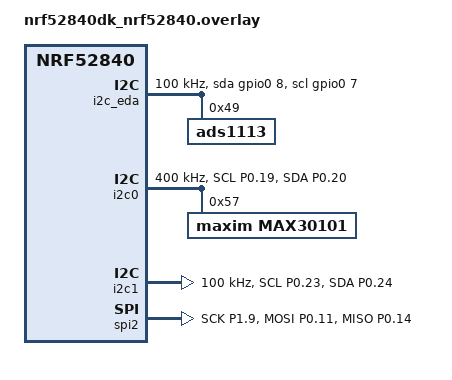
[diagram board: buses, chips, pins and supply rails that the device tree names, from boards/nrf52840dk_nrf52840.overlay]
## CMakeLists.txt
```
cmake_minimum_required(VERSION 3.20.0)

find_package(Zephyr REQUIRED HINTS $ENV{ZEPHYR_BASE})
project(smartwatch_all_sensors)

target_sources(app PRIVATE
  src/main.c
  src/as6221_task.c
  src/lsm6dso_task.c
  src/max30101_task.c
  src/ads1113_task.c
  src/w25n01_task.c
  src/ble_log_service.c
  src/log_backend_ble.c
)
```

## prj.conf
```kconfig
# Core
CONFIG_GPIO=y
CONFIG_I2C=y
CONFIG_I2C_GPIO=y
CONFIG_GPIO_NRFX=y
# Logging
CONFIG_LOG=y
CONFIG_LOG_DEFAULT_LEVEL=3
CONFIG_LOG_MODE_DEFERRED=y
CONFIG_LOG_PROCESS_THREAD=y
CONFIG_LOG_PROCESS_THREAD_STACK_SIZE=4096
CONFIG_LOG_BUFFER_SIZE=4096
CONFIG_LOG_OUTPUT=y

# No RTT / no UART console output
CONFIG_USE_SEGGER_RTT=n
CONFIG_LOG_BACKEND_RTT=n
CONFIG_RTT_CONSOLE=n
CONFIG_UART_CONSOLE=n
CONFIG_SERIAL=n
CONFIG_CONSOLE=n

# Float format for LOG_INF("%.2f")
CONFIG_CBPRINTF_COMPLETE=y
CONFIG_CBPRINTF_FP_SUPPORT=y

# BLE
CONFIG_BT=y
CONFIG_BT_PERIPHERAL=y
CONFIG_BT_DEVICE_NAME="SMARTWATCH"
CONFIG_BT_MAX_CONN=1
CONFIG_BT_SMP=n
CONFIG_BT_GATT_DYNAMIC_DB=y

# Reduce BT internal log spam
CONFIG_BT_LOG_LEVEL_ERR=y

# Buffers (safe values)
CONFIG_BT_L2CAP_TX_BUF_COUNT=10
CONFIG_BT_BUF_ACL_TX_COUNT=10
CONFIG_BT_BUF_ACL_RX_COUNT=10
CONFIG_BT_CONN_TX_MAX=10

# ---- ADD THESE (keep your existing as-is) ----
CONFIG_SPI=y
CONFIG_PRINTK=y
CONFIG_LOG_PRINTK=y
```

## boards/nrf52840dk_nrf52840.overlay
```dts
/ {
	/* ==========================================
	 * Software I2C (bitbang) for ADS1113
	 * Fixed wiring:
	 *   P0.07 = SCL
	 *   P0.08 = SDA
	 * ========================================== */
	i2c_eda: i2c_eda {
		compatible = "gpio-i2c";
		status = "okay";

		scl-gpios = <&gpio0 7 (GPIO_OPEN_DRAIN | GPIO_PULL_UP)>;
		sda-gpios = <&gpio0 8 (GPIO_OPEN_DRAIN | GPIO_PULL_UP)>;

		clock-frequency = <I2C_BITRATE_STANDARD>;
		#address-cells = <1>;
		#size-cells = <0>;

		ads1113: ads1113@49 {
			reg = <0x49>;
			status = "okay";
		};
	};
};

&uart0 {
	status = "disabled";
};

/* IMPORTANT: keep spi1 disabled because i2c1 uses HW instance 1 */
&spi1 {
	status = "disabled";
};

/* =======================
 * I2C0 (AS6221 + MAX30101)
 * P0.19=SCL, P0.20=SDA
 * ======================= */
&i2c0 {
	status = "okay";
	clock-frequency = <I2C_BITRATE_FAST>;
	pinctrl-0 = <&i2c0_default>;
	pinctrl-1 = <&i2c0_sleep>;
	pinctrl-names = "default", "sleep";

	max30101: max30101@57 {
		compatible = "maxim,max30101";
		reg = <0x57>;
		label = "MAX30101";
		status = "okay";
	};
};

/* =======================
 * I2C1 (LSM6DSO)
 * P0.23=SCL, P0.24=SDA
 * ======================= */
&i2c1 {
	status = "okay";
	clock-frequency = <I2C_BITRATE_STANDARD>;
	pinctrl-0 = <&i2c1_default>;
	pinctrl-1 = <&i2c1_sleep>;
	pinctrl-names = "default", "sleep";
};

/* ==========================================
 * SPI2 (W25N01GV NAND)
 * SAME wiring as your independent test:
 *   SCK  = P1.09
 *   MOSI = P0.11
 *   MISO = P0.14
 *
 * CS is manual on P0.17 (your code controls it),
 * so cs-gpios not required here.
 * ========================================== */
&spi2 {
	status = "okay";
	pinctrl-0 = <&spi2_default>;
	pinctrl-1 = <&spi2_sleep>;
	pinctrl-names = "default", "sleep";
};

&pinctrl {
	i2c0_default: i2c0_default {
		group1 {
			psels = <
				NRF_PSEL(TWIM_SCL, 0, 19)
				NRF_PSEL(TWIM_SDA, 0, 20)
			>;
		};
	};

	i2c0_sleep: i2c0_sleep {
		group1 {
			psels = <
				NRF_PSEL(TWIM_SCL, 0, 19)
				NRF_PSEL(TWIM_SDA, 0, 20)
			>;
			low-power-enable;
		};
	};

	i2c1_default: i2c1_default {
		group1 {
			psels = <
				NRF_PSEL(TWIM_SCL, 0, 23)
				NRF_PSEL(TWIM_SDA, 0, 24)
			>;
		};
	};

	i2c1_sleep: i2c1_sleep {
		group1 {
			psels = <
				NRF_PSEL(TWIM_SCL, 0, 23)
				NRF_PSEL(TWIM_SDA, 0, 24)
			>;
			low-power-enable;
		};
	};

	spi2_default: spi2_default {
		group1 {
			psels = <
				NRF_PSEL(SPIM_SCK,  1, 9)   /* P1.09 */
				NRF_PSEL(SPIM_MOSI, 0, 11)  /* P0.11 */
				NRF_PSEL(SPIM_MISO, 0, 14)  /* P0.14 */
			>;
		};
	};

	spi2_sleep: spi2_sleep {
		group1 {
			psels = <
				NRF_PSEL(SPIM_SCK,  1, 9)
				NRF_PSEL(SPIM_MOSI, 0, 11)
				NRF_PSEL(SPIM_MISO, 0, 14)
			>;
			low-power-enable;
		};
	};
};
```

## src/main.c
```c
#include <zephyr/kernel.h>
#include <zephyr/logging/log.h>

#include "ble_log_service.h"
#include "as6221_task.h"
#include "lsm6dso_task.h"
#include "max30101_task.h"
#include "ads1113_task.h"   /* <-- add this */
#include "w25n01_task.h"

LOG_MODULE_REGISTER(main_all, LOG_LEVEL_INF);

int main(void)
{
	int err = ble_log_service_init();
	if (err) {
		LOG_ERR("ble_log_service_init failed (%d)", err);
	}

	k_msleep(500);

	as6221_task_start();
	lsm6dso_task_start();
	max30101_task_start();
	ads1113_task_start();    /* <-- add this */
    w25n01_task_start();

	LOG_INF("All sensor tasks started.");

	while (1) {
		k_sleep(K_SECONDS(1));
	}
}
```

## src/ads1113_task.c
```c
#include <zephyr/kernel.h>
#include <zephyr/device.h>
#include <zephyr/drivers/i2c.h>
#include <zephyr/logging/log.h>
#include <stdint.h>

LOG_MODULE_REGISTER(eda_raw, LOG_LEVEL_INF);

/* Use software I2C bus on P0.07/P0.08 */
#define I2C_NODE        DT_NODELABEL(i2c_eda)
#define ADS1113_ADDR    0x49

#define REG_CONV        0x00
#define REG_CONFIG      0x01

#define FS_HZ           4
#define SAMPLE_MS       (1000 / FS_HZ)

#define FLAT_DELTA_RAW_TH   1
#define FLAT_TIME_SEC       5
#define FLAT_N_SAMPLES      (FS_HZ * FLAT_TIME_SEC)

static int ads_set_continuous(const struct device *i2c)
{
	uint8_t cfg[3] = { REG_CONFIG, 0xC2, 0x83 };
	return i2c_write(i2c, cfg, sizeof(cfg), ADS1113_ADDR);
}

static int ads_read_raw(const struct device *i2c, int16_t *raw)
{
	uint8_t reg = REG_CONV;
	uint8_t buf[2];

	int ret = i2c_write_read(i2c, ADS1113_ADDR, &reg, 1, buf, 2);
	if (ret) return ret;

	*raw = (int16_t)((buf[0] << 8) | buf[1]);
	return 0;
}

static int32_t raw_to_mV(int16_t raw)
{
	int32_t uv = (int32_t)raw * 125;
	return uv / 1000;
}

static void ads1113_thread(void *a, void *b, void *c)
{
	ARG_UNUSED(a); ARG_UNUSED(b); ARG_UNUSED(c);

	const struct device *i2c = DEVICE_DT_GET(I2C_NODE);
	if (!device_is_ready(i2c)) {
		LOG_ERR("I2C not ready");
		return;
	}

	LOG_INF("=== EDA RAW STREAM TEST (ADS1113, %d Hz) ===", FS_HZ);

	int ret = ads_set_continuous(i2c);
	if (ret) {
		LOG_ERR("ADS config write failed (%d)", ret);
		return;
	}
	LOG_INF("ADS set to continuous mode");

	int16_t prev_raw = 0;
	bool have_prev = false;
	int flat_cnt = 0;

	int64_t t0 = k_uptime_get();

	while (1) {
		int16_t raw = 0;
		ret = ads_read_raw(i2c, &raw);
		if (ret) {
			LOG_ERR("ADS read failed (%d)", ret);
			k_sleep(K_MSEC(SAMPLE_MS));
			continue;
		}

		int32_t mv = raw_to_mV(raw);

		int16_t d = 0;
		if (have_prev) {
			d = raw - prev_raw;
		} else {
			have_prev = true;
		}

		if (have_prev && (d <= FLAT_DELTA_RAW_TH && d >= -FLAT_DELTA_RAW_TH)) {
			flat_cnt++;
		} else {
			flat_cnt = 0;
		}

		int64_t t_ms = k_uptime_get() - t0;

		LOG_INF("t=%lldms raw=%d mv=%ld dRaw=%d flat_cnt=%d%s",
			t_ms, raw, (long)mv, d, flat_cnt,
			(flat_cnt >= FLAT_N_SAMPLES) ? " FLATLINE" : "");

		prev_raw = raw;
		k_sleep(K_MSEC(SAMPLE_MS));
	}
}

#define ADS1113_STACK_SIZE 2048
#define ADS1113_PRIORITY   5

K_THREAD_STACK_DEFINE(ads1113_stack, ADS1113_STACK_SIZE);
static struct k_thread ads1113_tcb;
static bool started;

void ads1113_task_start(void)
{
	if (started) return;
	started = true;

	k_thread_create(&ads1113_tcb, ads1113_stack, K_THREAD_STACK_SIZEOF(ads1113_stack),
			ads1113_thread, NULL, NULL, NULL,
			ADS1113_PRIORITY, 0, K_NO_WAIT);

	k_thread_name_set(&ads1113_tcb, "ads1113_task");
}
```

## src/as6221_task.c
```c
#include <zephyr/kernel.h>
#include <zephyr/device.h>
#include <zephyr/drivers/i2c.h>
#include <zephyr/logging/log.h>

LOG_MODULE_REGISTER(as6221_demo, LOG_LEVEL_INF);

#define AS6221_ADDR     0x48
#define REG_TEMP_MSB    0x00

static const struct device *i2c_dev;

/* ---------- your existing logic unchanged ---------- */
static float as6221_read_temp(void)
{
	uint8_t data[2];
	int ret = i2c_burst_read(i2c_dev, AS6221_ADDR, REG_TEMP_MSB, data, 2);

	if (ret < 0) {
		LOG_ERR("I2C read failed (%d)", ret);
		return -1000.0f;
	}

	uint16_t raw = (data[0] << 8) | data[1];
	float temperature = raw / 100.0f;

	LOG_INF("[AS6221] t=%.2f C | raw=%u | uptime=%lld ms",
		temperature, raw, k_uptime_get());

	return temperature;
}

/* ---------- thread wrapper ---------- */
static void as6221_thread(void *a, void *b, void *c)
{
	ARG_UNUSED(a);
	ARG_UNUSED(b);
	ARG_UNUSED(c);

	LOG_INF("=== AS6221 CUSTOM I2C DEMO START ===");

	i2c_dev = DEVICE_DT_GET(DT_NODELABEL(i2c0));
	if (!device_is_ready(i2c_dev)) {
		LOG_ERR("I2C0 not ready!");
		return;
	}

	LOG_INF("I2C0 ready, addr=0x48");

	while (1) {
		as6221_read_temp();
		k_msleep(1000);
	}
}

/* thread objects */
#define AS6221_STACK_SIZE 2048
#define AS6221_PRIORITY   5

K_THREAD_STACK_DEFINE(as6221_stack, AS6221_STACK_SIZE);
static struct k_thread as6221_tcb;
static bool started;

void as6221_task_start(void)
{
	if (started) {
		return;
	}
	started = true;

	k_thread_create(&as6221_tcb, as6221_stack, K_THREAD_STACK_SIZEOF(as6221_stack),
			as6221_thread, NULL, NULL, NULL,
			AS6221_PRIORITY, 0, K_NO_WAIT);

	k_thread_name_set(&as6221_tcb, "as6221_task");
}
```

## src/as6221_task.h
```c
#pragma once

void as6221_task_start(void);
```

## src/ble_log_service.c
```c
#include <zephyr/kernel.h>
#include <zephyr/sys/util.h>
#include <zephyr/bluetooth/bluetooth.h>
#include <zephyr/bluetooth/conn.h>
#include <zephyr/bluetooth/gatt.h>

#include "ble_log_service.h"

/* 128-bit UUIDs */
#define BT_UUID_LOG_SERVICE_VAL \
	BT_UUID_128_ENCODE(0x9f7b0000, 0x6c35, 0x4d2c, 0x9c85, 0x4a8c1a2b3c4d)

#define BT_UUID_LOG_STREAM_VAL \
	BT_UUID_128_ENCODE(0x9f7b0001, 0x6c35, 0x4d2c, 0x9c85, 0x4a8c1a2b3c4d)

static struct bt_uuid_128 log_svc_uuid = BT_UUID_INIT_128(BT_UUID_LOG_SERVICE_VAL);
static struct bt_uuid_128 log_chr_uuid = BT_UUID_INIT_128(BT_UUID_LOG_STREAM_VAL);

static struct bt_conn *g_conn;
static volatile bool g_notify_enabled;

static uint8_t g_last[200];
static size_t  g_last_len;

static ssize_t log_read(struct bt_conn *conn,
			const struct bt_gatt_attr *attr,
			void *buf, uint16_t len, uint16_t offset)
{
	(void)attr;
	return bt_gatt_attr_read(conn, attr, buf, len, offset, g_last, g_last_len);
}

static void ccc_cfg_changed(const struct bt_gatt_attr *attr, uint16_t value)
{
	ARG_UNUSED(attr);
	g_notify_enabled = (value == BT_GATT_CCC_NOTIFY);
}

/* attrs index:
 * 0 = primary service
 * 1 = chr declaration
 * 2 = chr value (notify this)
 * 3 = ccc
 */
BT_GATT_SERVICE_DEFINE(log_svc,
	BT_GATT_PRIMARY_SERVICE(&log_svc_uuid),
	BT_GATT_CHARACTERISTIC(&log_chr_uuid.uuid,
			       BT_GATT_CHRC_NOTIFY | BT_GATT_CHRC_READ,
			       BT_GATT_PERM_READ,
			       log_read, NULL, NULL),
	BT_GATT_CCC(ccc_cfg_changed, BT_GATT_PERM_READ | BT_GATT_PERM_WRITE)
);

static void connected(struct bt_conn *conn, uint8_t err)
{
	if (err) {
		return;
	}

	if (g_conn) {
		bt_conn_unref(g_conn);
		g_conn = NULL;
	}
	g_conn = bt_conn_ref(conn);
}

static void disconnected(struct bt_conn *conn, uint8_t reason)
{
	ARG_UNUSED(conn);
	ARG_UNUSED(reason);

	if (g_conn) {
		bt_conn_unref(g_conn);
		g_conn = NULL;
	}
	g_notify_enabled = false;
}

BT_CONN_CB_DEFINE(conn_cb) = {
	.connected = connected,
	.disconnected = disconnected,
};

int ble_log_service_init(void)
{
	int err = bt_enable(NULL);
	if (err) {
		return err;
	}

	/* connectable advertising with device name */
	return bt_le_adv_start(BT_LE_ADV_CONN_NAME, NULL, 0, NULL, 0);
}

int ble_log_send_as(const uint8_t *data, size_t len)
{
	if (!data || len == 0) {
		return 0;
	}

	struct bt_conn *conn = g_conn;
	if (!conn || !g_notify_enabled) {
		/* not connected or notify not enabled yet */
		return 0;
	}

	uint16_t mtu = bt_gatt_get_mtu(conn);
	uint16_t max_payload = (mtu > 3) ? (mtu - 3) : 20;

	g_last_len = MIN(len, sizeof(g_last));
	memcpy(g_last, data, g_last_len);

	size_t off = 0;
	while (off < len) {
		uint16_t chunk = (uint16_t)MIN((size_t)max_payload, len - off);

		int tries = 0;
		int err;
		do {
			err = bt_gatt_notify(conn, &log_svc.attrs[2], data + off, chunk);
			if (err == -ENOMEM) {
				k_msleep(5);
			}
			tries++;
		} while (err == -ENOMEM && tries < 10);

		if (err) {
			return err;
		}

		off += chunk;
		k_yield();
	}

	return (int)len;
}
```

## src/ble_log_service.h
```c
#pragma once
#include <stddef.h>
#include <stdint.h>

int ble_log_service_init(void);

/* Send log bytes to notify characteristic (UTF-8 text) */
int ble_log_send_as(const uint8_t *data, size_t len);
```

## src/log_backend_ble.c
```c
#include <zephyr/kernel.h>
#include <zephyr/logging/log_backend.h>
#include <zephyr/logging/log_output.h>
#include <zephyr/logging/log_msg.h>
#include <zephyr/logging/log_ctrl.h>
#include <string.h>

#include "ble_log_service.h"

/* IMPORTANT: Do NOT use LOG_INF/LOG_ERR inside a log backend */

static uint8_t out_buf[256];

static int output_func(uint8_t *data, size_t length, void *ctx)
{
	ARG_UNUSED(ctx);
	(void)ble_log_send_as(data, length);
	return (int)length;
}

LOG_OUTPUT_DEFINE(ble_log_output, output_func, out_buf, sizeof(out_buf));

static void backend_process(const struct log_backend *const backend,
			    union log_msg_generic *msg)
{
	ARG_UNUSED(backend);

	struct log_msg *m = (struct log_msg *)&msg->log;

	/* Format & emit message */
	log_output_msg_process(&ble_log_output, m, 0U);

	/* newline */
	static const uint8_t nl[2] = {'\r', '\n'};
	(void)ble_log_send_as(nl, sizeof(nl));
}

static void backend_dropped(const struct log_backend *const backend, uint32_t cnt)
{
	ARG_UNUSED(backend);

	char s[64];
	int n = snprintk(s, sizeof(s), "[DROPPED=%u]\r\n", (unsigned)cnt);
	if (n > 0) {
		(void)ble_log_send_as((const uint8_t *)s, (size_t)n);
	}
}

static void backend_panic(const struct log_backend *const backend)
{
	ARG_UNUSED(backend);
}

static const struct log_backend_api backend_api = {
	.process = backend_process,
	.dropped = backend_dropped,
	.panic   = backend_panic,
};

LOG_BACKEND_DEFINE(ble_backend, backend_api, true);
```

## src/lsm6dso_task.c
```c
#include <zephyr/kernel.h>
#include <zephyr/device.h>
#include <zephyr/drivers/gpio.h>
#include <zephyr/drivers/i2c.h>
#include <zephyr/logging/log.h>
#include <zephyr/sys/util.h>

LOG_MODULE_REGISTER(lsm6dso_app, LOG_LEVEL_INF);

/* ========= Your Pins (per your mapping) ========= */
#define GPIO0_NODE DT_NODELABEL(gpio0)

#define LSM6DSO_CS_PIN    4    /* P0.04 -> LSM6DSO_CS (force HIGH for I2C mode) */
#define LSM6DSO_INT2_PIN  5    /* P0.05 -> LSM6DSO_INT2 (optional) */
#define LSM6DSO_INT1_PIN  28   /* P0.28 -> LSM6DSO_INT1 (optional) */

/* ========= LSM6DSO Registers ========= */
#define REG_WHO_AM_I      0x0F
#define WHO_AM_I_VAL      0x6C

#define REG_CTRL1_XL      0x10
#define REG_CTRL2_G       0x11
#define REG_CTRL3_C       0x12

#define REG_OUTX_L_G      0x22  /* burst from here reads gyro then accel (12 bytes) */

#define CTRL1_XL_104HZ_2G     0x40
#define CTRL2_G_104HZ_250DPS  0x40
#define CTRL3_C_BDU_IFINC     0x44

#define ACC_MG_PER_LSB_NUM      61
#define ACC_MG_PER_LSB_DEN      1000

#define GYRO_MDPS_PER_LSB_NUM   875
#define GYRO_MDPS_PER_LSB_DEN   100

static const struct device *i2c1;
static const struct device *gpio0;

/* ========= I2C helpers ========= */
static int reg_read_u8(uint8_t addr, uint8_t reg, uint8_t *val)
{
	return i2c_reg_read_byte(i2c1, addr, reg, val);
}

static int reg_write_u8(uint8_t addr, uint8_t reg, uint8_t val)
{
	return i2c_reg_write_byte(i2c1, addr, reg, val);
}

static int burst_read(uint8_t addr, uint8_t start_reg, uint8_t *buf, size_t len)
{
	return i2c_burst_read(i2c1, addr, start_reg, buf, len);
}

/* ========= Address detect ========= */
static int detect_addr(uint8_t *found)
{
	uint8_t who = 0;

	if (reg_read_u8(0x6A, REG_WHO_AM_I, &who) == 0 && who == WHO_AM_I_VAL) {
		*found = 0x6A;
		LOG_INF("WHO_AM_I @0x6A = 0x%02X (OK)", who);
		return 0;
	}

	if (reg_read_u8(0x6B, REG_WHO_AM_I, &who) == 0 && who == WHO_AM_I_VAL) {
		*found = 0x6B;
		LOG_INF("WHO_AM_I @0x6B = 0x%02X (OK)", who);
		return 0;
	}

	LOG_ERR("LSM6DSO not found at 0x6A/0x6B");
	return -EIO;
}

/* ========= Convert helpers ========= */
static inline int16_t le16(const uint8_t *p)
{
	return (int16_t)((p[1] << 8) | p[0]);
}

static int32_t accel_raw_to_mg(int16_t raw)
{
	return ((int32_t)raw * ACC_MG_PER_LSB_NUM) / ACC_MG_PER_LSB_DEN;
}

static int32_t gyro_raw_to_mdps(int16_t raw)
{
	return ((int32_t)raw * GYRO_MDPS_PER_LSB_NUM) / GYRO_MDPS_PER_LSB_DEN;
}

/* ========= Thread ========= */
static void lsm6dso_thread(void *a, void *b, void *c)
{
	ARG_UNUSED(a);
	ARG_UNUSED(b);
	ARG_UNUSED(c);

	uint8_t addr = 0;
	int ret;

	LOG_INF("=== LSM6DSO FULL I2C ACC+GYRO TEST ===");

	gpio0 = DEVICE_DT_GET(GPIO0_NODE);
	i2c1  = DEVICE_DT_GET(DT_NODELABEL(i2c1));

	if (!device_is_ready(gpio0)) {
		LOG_ERR("GPIO0 not ready");
		return;
	}
	if (!device_is_ready(i2c1)) {
		LOG_ERR("I2C1 not ready");
		return;
	}

	/* Force CS HIGH to ensure I2C mode */
	ret = gpio_pin_configure(gpio0, LSM6DSO_CS_PIN, GPIO_OUTPUT_HIGH);
	if (ret) {
		LOG_ERR("CS pin config failed (%d)", ret);
		return;
	}

	/* Optional INT pins */
	(void)gpio_pin_configure(gpio0, LSM6DSO_INT1_PIN, GPIO_INPUT);
	(void)gpio_pin_configure(gpio0, LSM6DSO_INT2_PIN, GPIO_INPUT);

	k_msleep(20);

	ret = detect_addr(&addr);
	if (ret) {
		LOG_ERR("Bring-up failed: cannot detect address");
		return;
	}

	LOG_INF("Using LSM6DSO I2C address = 0x%02X", addr);

	ret = reg_write_u8(addr, REG_CTRL3_C, CTRL3_C_BDU_IFINC);
	if (ret) {
		LOG_ERR("CTRL3_C write failed (%d)", ret);
		return;
	}

	ret = reg_write_u8(addr, REG_CTRL1_XL, CTRL1_XL_104HZ_2G);
	if (ret) {
		LOG_ERR("CTRL1_XL write failed (%d)", ret);
		return;
	}

	ret = reg_write_u8(addr, REG_CTRL2_G, CTRL2_G_104HZ_250DPS);
	if (ret) {
		LOG_ERR("CTRL2_G write failed (%d)", ret);
		return;
	}

	LOG_INF("Configured: XL=104Hz(2g), G=104Hz(250dps), IF_INC+BDU enabled");

	while (1) {
		uint8_t buf[12];

		ret = burst_read(addr, REG_OUTX_L_G, buf, sizeof(buf));
		if (ret) {
			LOG_ERR("Burst read failed (%d)", ret);
			k_sleep(K_MSEC(500));
			continue;
		}

		int16_t gx = le16(&buf[0]);
		int16_t gy = le16(&buf[2]);
		int16_t gz = le16(&buf[4]);

		int16_t ax = le16(&buf[6]);
		int16_t ay = le16(&buf[8]);
		int16_t az = le16(&buf[10]);

		int32_t gx_mdps = gyro_raw_to_mdps(gx);
		int32_t gy_mdps = gyro_raw_to_mdps(gy);
		int32_t gz_mdps = gyro_raw_to_mdps(gz);

		int32_t ax_mg = accel_raw_to_mg(ax);
		int32_t ay_mg = accel_raw_to_mg(ay);
		int32_t az_mg = accel_raw_to_mg(az);

		LOG_INF("[LSM6DSO] G RAW [%6d %6d %6d] mdps [%6ld %6ld %6ld]",
			gx, gy, gz, (long)gx_mdps, (long)gy_mdps, (long)gz_mdps);

		LOG_INF("[LSM6DSO] A RAW [%6d %6d %6d]  mg [%6ld %6ld %6ld]",
			ax, ay, az, (long)ax_mg, (long)ay_mg, (long)az_mg);

		k_sleep(K_MSEC(200));
	}
}

/* thread objects */
#define LSM6DSO_STACK_SIZE 3072
#define LSM6DSO_PRIORITY   5

K_THREAD_STACK_DEFINE(lsm6dso_stack, LSM6DSO_STACK_SIZE);
static struct k_thread lsm6dso_tcb;
static bool started;

void lsm6dso_task_start(void)
{
	if (started) {
		return;
	}
	started = true;

	k_thread_create(&lsm6dso_tcb, lsm6dso_stack, K_THREAD_STACK_SIZEOF(lsm6dso_stack),
			lsm6dso_thread, NULL, NULL, NULL,
			LSM6DSO_PRIORITY, 0, K_NO_WAIT);

	k_thread_name_set(&lsm6dso_tcb, "lsm6dso_task");
}
```

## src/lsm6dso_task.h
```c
#pragma once

void lsm6dso_task_start(void);
```

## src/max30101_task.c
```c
#include <zephyr/kernel.h>
#include <zephyr/device.h>
#include <zephyr/drivers/i2c.h>
#include <zephyr/logging/log.h>
#include <zephyr/sys/util.h>
#include <string.h>

LOG_MODULE_REGISTER(max30101_demo, LOG_LEVEL_INF);

#define MAX30101_I2C_ADDR 0x57

/* Registers */
#define REG_INTR_STATUS_1     0x00
#define REG_INTR_STATUS_2     0x01
#define REG_INTR_ENABLE_1     0x02
#define REG_INTR_ENABLE_2     0x03
#define REG_FIFO_WR_PTR       0x04
#define REG_FIFO_OVF_CNT      0x05
#define REG_FIFO_RD_PTR       0x06
#define REG_FIFO_DATA         0x07
#define REG_FIFO_CONFIG       0x08
#define REG_MODE_CONFIG       0x09
#define REG_SPO2_CONFIG       0x0A
#define REG_LED1_PA           0x0C   /* LED1 = RED */
#define REG_LED2_PA           0x0D   /* LED2 = IR  */
#define REG_LED3_PA           0x0E   /* LED3 = GREEN */
#define REG_MULTI_LED_CTRL1   0x11
#define REG_MULTI_LED_CTRL2   0x12
#define REG_REV_ID            0xFE
#define REG_PART_ID           0xFF

static const struct device *i2c_dev;

static int wr(uint8_t reg, uint8_t val)
{
	return i2c_reg_write_byte(i2c_dev, MAX30101_I2C_ADDR, reg, val);
}

static int rd(uint8_t reg, uint8_t *val)
{
	return i2c_reg_read_byte(i2c_dev, MAX30101_I2C_ADDR, reg, val);
}

static uint32_t parse_sample18(const uint8_t b[3])
{
	uint32_t v = ((uint32_t)b[0] << 16) | ((uint32_t)b[1] << 8) | b[2];
	return v & 0x3FFFF; /* 18-bit */
}

static void dump_regs(void)
{
	uint8_t v;

	rd(REG_MODE_CONFIG, &v);      LOG_INF("MODE_CONFIG      (0x09) = 0x%02X", v);
	rd(REG_FIFO_CONFIG, &v);      LOG_INF("FIFO_CONFIG      (0x08) = 0x%02X", v);
	rd(REG_SPO2_CONFIG, &v);      LOG_INF("SPO2_CONFIG      (0x0A) = 0x%02X", v);
	rd(REG_MULTI_LED_CTRL1, &v);  LOG_INF("MULTI_LED_CTRL1  (0x11) = 0x%02X", v);
	rd(REG_MULTI_LED_CTRL2, &v);  LOG_INF("MULTI_LED_CTRL2  (0x12) = 0x%02X", v);
	rd(REG_LED1_PA, &v);          LOG_INF("LED1_PA (RED)    (0x0C) = 0x%02X", v);
	rd(REG_LED2_PA, &v);          LOG_INF("LED2_PA (IR)     (0x0D) = 0x%02X", v);
	rd(REG_LED3_PA, &v);          LOG_INF("LED3_PA (GREEN)  (0x0E) = 0x%02X", v);
}

static bool max30101_reset_wait(void)
{
	/* Reset bit is MODE_CONFIG bit6. We write it then poll until it clears. */
	int err = wr(REG_MODE_CONFIG, 0x40);
	if (err) {
		LOG_ERR("Reset write failed err=%d", err);
		return false;
	}

	for (int i = 0; i < 50; i++) { /* up to ~500ms */
		uint8_t mc = 0;
		if (rd(REG_MODE_CONFIG, &mc) == 0) {
			if ((mc & 0x40) == 0) {
				return true; /* reset done */
			}
		}
		k_msleep(10);
	}

	LOG_ERR("Reset did not clear!");
	return false;
}

static void max30101_manual_init(void)
{
	uint8_t part = 0, rev = 0;

	if (rd(REG_PART_ID, &part) == 0 && rd(REG_REV_ID, &rev) == 0) {
		LOG_INF("PART_ID (0xFF)=0x%02X | REV_ID (0xFE)=0x%02X", part, rev);
	} else {
		LOG_ERR("Failed to read PART/REV ID");
	}

	if (!max30101_reset_wait()) {
		return;
	}

	/* Disable interrupts for bring-up (simple) */
	wr(REG_INTR_ENABLE_1, 0x00);
	wr(REG_INTR_ENABLE_2, 0x00);

	/* FIFO:
	   SMP_AVE=1 (000), FIFO_ROLLOVER_EN=1, FIFO_A_FULL=15 => 0x1F
	*/
	wr(REG_FIFO_CONFIG, 0x1F);

	/* Multi-LED mode */
	wr(REG_MODE_CONFIG, 0x07);

	/* SPO2 config (keep your working value) */
	wr(REG_SPO2_CONFIG, 0x27);

	/* LED currents (0x24 ~ moderate) */
	wr(REG_LED1_PA, 0x24);  /* RED */
	wr(REG_LED2_PA, 0x24);  /* IR  */
	wr(REG_LED3_PA, 0x24);  /* GREEN */

	/* Slots: S1=LED1(RED), S2=LED2(IR), S3=LED3(GREEN), S4=NONE */
	wr(REG_MULTI_LED_CTRL1, 0x21);
	wr(REG_MULTI_LED_CTRL2, 0x03);

	/* Clear FIFO pointers */
	wr(REG_FIFO_WR_PTR,  0x00);
	wr(REG_FIFO_OVF_CNT, 0x00);
	wr(REG_FIFO_RD_PTR,  0x00);

	/* Clear latched status */
	uint8_t tmp;
	rd(REG_INTR_STATUS_1, &tmp);
	rd(REG_INTR_STATUS_2, &tmp);

	LOG_INF("Manual Multi-LED (RED/IR/GREEN) configuration applied.");
	dump_regs();
}

static void max30101_thread(void *a, void *b, void *c)
{
	ARG_UNUSED(a);
	ARG_UNUSED(b);
	ARG_UNUSED(c);

	LOG_INF("=== MAX30101 REGISTER-LEVEL FIFO READ (NO ZEPHYR DRIVER) ===");

	i2c_dev = DEVICE_DT_GET(DT_NODELABEL(i2c0));
	if (!device_is_ready(i2c_dev)) {
		LOG_ERR("I2C0 NOT READY");
		return;
	}

	max30101_manual_init();

	uint32_t tick = 0;

	while (1) {
		uint8_t wrp = 0, rdp = 0, ovf = 0;

		if (rd(REG_FIFO_WR_PTR, &wrp) != 0 ||
		    rd(REG_FIFO_RD_PTR, &rdp) != 0 ||
		    rd(REG_FIFO_OVF_CNT, &ovf) != 0) {
			LOG_ERR("Failed to read FIFO pointers");
			k_msleep(100);
			continue;
		}

		uint8_t available = (wrp - rdp) & 0x1F;

		/* Always show progress even if no samples */
		if ((++tick % 50) == 0) { /* ~1 second (50 * 20ms) */
			uint8_t s1 = 0, s2 = 0, mc = 0;
			rd(REG_INTR_STATUS_1, &s1);
			rd(REG_INTR_STATUS_2, &s2);
			rd(REG_MODE_CONFIG, &mc);

			LOG_INF("FIFO DBG | WR=%u RD=%u OVF=%u avail=%u | INT1=0x%02X INT2=0x%02X | MODE=0x%02X",
				wrp, rdp, ovf, available, s1, s2, mc);
		}

		if (available == 0) {
			k_msleep(20);
			continue;
		}

		/* Read 1 frame: 3 samples (RED, IR, GREEN) => 9 bytes */
		uint8_t raw[9];
		int err = i2c_burst_read(i2c_dev, MAX30101_I2C_ADDR, REG_FIFO_DATA, raw, sizeof(raw));
		if (err) {
			LOG_ERR("FIFO read err=%d", err);
			k_msleep(50);
			continue;
		}

		uint32_t red   = parse_sample18(&raw[0]);
		uint32_t ir    = parse_sample18(&raw[3]);
		uint32_t green = parse_sample18(&raw[6]);

		LOG_INF("PPG FIFO | RED=%u | IR=%u | GREEN=%u | avail=%u", red, ir, green, available);

		k_msleep(50);
	}
}

/* thread objects */
#define MAX30101_STACK_SIZE 3072
#define MAX30101_PRIORITY   5

K_THREAD_STACK_DEFINE(max30101_stack, MAX30101_STACK_SIZE);
static struct k_thread max30101_tcb;
static bool started;

void max30101_task_start(void)
{
	if (started) {
		return;
	}
	started = true;

	k_thread_create(&max30101_tcb, max30101_stack, K_THREAD_STACK_SIZEOF(max30101_stack),
			max30101_thread, NULL, NULL, NULL,
			MAX30101_PRIORITY, 0, K_NO_WAIT);

	k_thread_name_set(&max30101_tcb, "max30101_task");
}
```

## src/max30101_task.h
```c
#pragma once

void max30101_task_start(void);
```

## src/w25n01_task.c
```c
#include <zephyr/kernel.h>
#include <zephyr/device.h>
#include <zephyr/drivers/gpio.h>
#include <zephyr/drivers/spi.h>
#include <zephyr/logging/log.h>
#include <string.h>

LOG_MODULE_REGISTER(w25n01_mem, LOG_LEVEL_INF);

/* GPIO */
#define GPIO0_NODE DT_NODELABEL(gpio0)
#define GPIO1_NODE DT_NODELABEL(gpio1)

#define CS_PIN     17   /* P0.17 */
#define WP_PIN     29   /* P0.29 */
#define HOLD_PIN   8    /* P1.08 */

/* SPI (IMPORTANT): use spi2 so i2c1 can keep HW instance 1 */
#define SPI_NODE DT_NODELABEL(spi2)

static struct spi_config spi_cfg = {
	.frequency = 1000000, /* safe */
	.operation = SPI_WORD_SET(8) | SPI_TRANSFER_MSB,
	.slave = 0,
};

static const struct device *gpio0;
static const struct device *gpio1;
static const struct device *spi_dev;

static inline void cs_low(void)  { gpio_pin_set(gpio0, CS_PIN, 0); }
static inline void cs_high(void) { gpio_pin_set(gpio0, CS_PIN, 1); }

static int spi_tx(const uint8_t *tx, size_t len)
{
	struct spi_buf b = { .buf = (void *)tx, .len = len };
	struct spi_buf_set s = { .buffers = &b, .count = 1 };
	return spi_write(spi_dev, &spi_cfg, &s);
}

static int spi_rx(uint8_t *rx, size_t len)
{
	struct spi_buf b = { .buf = rx, .len = len };
	struct spi_buf_set s = { .buffers = &b, .count = 1 };
	return spi_read(spi_dev, &spi_cfg, &s);
}

/* ===== NAND commands ===== */
#define CMD_RESET        0xFF
#define CMD_WREN         0x06
#define CMD_GET_FEATURE  0x0F
#define CMD_SET_FEATURE  0x1F
#define CMD_BLOCK_ERASE  0xD8
#define CMD_PROG_LOAD    0x02
#define CMD_PROG_EXEC    0x10
#define CMD_PAGE_READ    0x13
#define CMD_READ_CACHE   0x03

#define REG_STATUS       0xC0
#define REG_PROTECTION   0xA0

#define SR_OIP   (1 << 0)
#define SR_EFAIL (1 << 2)
#define SR_PFAIL (1 << 3)

#define PAGES_PER_BLOCK 64
#define DEMO_BLOCK      1
#define DEMO_PAGE       (DEMO_BLOCK * PAGES_PER_BLOCK)
#define COL_ADDR        0x0000

static uint8_t get_status(void)
{
	uint8_t tx[3] = { CMD_GET_FEATURE, REG_STATUS, 0x00 };
	uint8_t rx[3] = { 0 };

	cs_low();
	spi_tx(tx, sizeof(tx));
	spi_rx(rx, sizeof(rx));
	cs_high();

	return rx[2];
}

static void wait_ready(const char *tag, int timeout_ms)
{
	int elapsed = 0;
	while (1) {
		uint8_t sr = get_status();
		if ((sr & SR_OIP) == 0) {
			LOG_INF("%s: READY (STATUS=0x%02X)", tag, sr);
			return;
		}
		k_msleep(5);
		elapsed += 5;
		if (elapsed >= timeout_ms) {
			LOG_ERR("%s: TIMEOUT (STATUS=0x%02X)", tag, sr);
			return;
		}
	}
}

static void set_protection_off(void)
{
	uint8_t tx[3] = { CMD_SET_FEATURE, REG_PROTECTION, 0x00 };
	cs_low();
	spi_tx(tx, sizeof(tx));
	cs_high();
	k_msleep(2);
	LOG_INF("Protection cleared (A0=0x00)");
}

static void nand_reset(void)
{
	uint8_t cmd = CMD_RESET;
	cs_low();
	spi_tx(&cmd, 1);
	cs_high();
	k_msleep(5);
	LOG_INF("NAND reset");
}

static void nand_wren(void)
{
	uint8_t cmd = CMD_WREN;
	cs_low();
	spi_tx(&cmd, 1);
	cs_high();
}

static void nand_block_erase(uint32_t page_addr)
{
	uint8_t tx[4] = {
		CMD_BLOCK_ERASE,
		(uint8_t)((page_addr >> 16) & 0xFF),
		(uint8_t)((page_addr >> 8) & 0xFF),
		(uint8_t)(page_addr & 0xFF),
	};

	nand_wren();
	cs_low();
	spi_tx(tx, sizeof(tx));
	cs_high();

	LOG_INF("Erase issued for block=%d (page=%d)", DEMO_BLOCK, (int)page_addr);
	wait_ready("ERASE", 3000);

	uint8_t sr = get_status();
	if (sr & SR_EFAIL) {
		LOG_ERR("ERASE FAILED (STATUS=0x%02X)", sr);
	} else {
		LOG_INF("Erase OK");
	}
}

static void nand_program_page(uint32_t page_addr, const uint8_t *data, size_t len)
{
	uint8_t hdr[3] = { CMD_PROG_LOAD, 0x00, 0x00 };

	nand_wren();
	cs_low();
	spi_tx(hdr, sizeof(hdr));
	spi_tx(data, len);
	cs_high();

	uint8_t exec[4] = {
		CMD_PROG_EXEC,
		(uint8_t)((page_addr >> 16) & 0xFF),
		(uint8_t)((page_addr >> 8) & 0xFF),
		(uint8_t)(page_addr & 0xFF),
	};

	cs_low();
	spi_tx(exec, sizeof(exec));
	cs_high();

	LOG_INF("Program execute issued (page=%d)", (int)page_addr);
	wait_ready("PROGRAM", 3000);

	uint8_t sr = get_status();
	if (sr & SR_PFAIL) {
		LOG_ERR("PROGRAM FAILED (STATUS=0x%02X)", sr);
	} else {
		LOG_INF("Program OK");
	}
}

static void nand_page_read_to_cache(uint32_t page_addr)
{
	uint8_t tx[4] = {
		CMD_PAGE_READ,
		(uint8_t)((page_addr >> 16) & 0xFF),
		(uint8_t)((page_addr >> 8) & 0xFF),
		(uint8_t)(page_addr & 0xFF),
	};

	cs_low();
	spi_tx(tx, sizeof(tx));
	cs_high();

	wait_ready("PAGE_READ", 3000);
}

static void nand_read_cache(uint16_t col, uint8_t *out, size_t len)
{
	uint8_t tx[4] = {
		CMD_READ_CACHE,
		(uint8_t)((col >> 8) & 0xFF),
		(uint8_t)(col & 0xFF),
		0x00
	};

	cs_low();
	spi_tx(tx, sizeof(tx));
	spi_rx(out, len);
	cs_high();
}

static void dump_10_bytes_one_line(const uint8_t *rb)
{
	char ascii[11];
	for (int i = 0; i < 10; i++) {
		ascii[i] = (rb[i] >= 32 && rb[i] <= 126) ? (char)rb[i] : '.';
	}
	ascii[10] = '\0';

	LOG_INF("DUMP: %02X %02X %02X %02X %02X %02X %02X %02X %02X %02X | %s",
		rb[0], rb[1], rb[2], rb[3], rb[4],
		rb[5], rb[6], rb[7], rb[8], rb[9],
		ascii);
}

/* ---------- thread wrapper ---------- */
static void w25n01_thread(void *a, void *b, void *c)
{
	ARG_UNUSED(a);
	ARG_UNUSED(b);
	ARG_UNUSED(c);

	LOG_INF("W25N01 task started. Connect BLE now; demo will repeat every 30s.");
	k_sleep(K_SECONDS(8));

	gpio0 = DEVICE_DT_GET(GPIO0_NODE);
	gpio1 = DEVICE_DT_GET(GPIO1_NODE);
	spi_dev = DEVICE_DT_GET(SPI_NODE);

	if (!device_is_ready(gpio0) || !device_is_ready(gpio1) || !device_is_ready(spi_dev)) {
		LOG_ERR("Devices not ready");
		return;
	}

	gpio_pin_configure(gpio0, CS_PIN, GPIO_OUTPUT_HIGH);
	gpio_pin_configure(gpio0, WP_PIN, GPIO_OUTPUT_HIGH);
	gpio_pin_configure(gpio1, HOLD_PIN, GPIO_OUTPUT_HIGH);
	k_msleep(10);

	nand_reset();
	set_protection_off();

	const char msg[] = "HELLO NAND";

	while (1) {
		LOG_INF("=== W25N01 NAND DEMO START ===");

		nand_block_erase(DEMO_PAGE);
		nand_program_page(DEMO_PAGE, (const uint8_t *)msg, strlen(msg));

		nand_page_read_to_cache(DEMO_PAGE);

		uint8_t rb[16] = {0};
		nand_read_cache(COL_ADDR, rb, sizeof(rb));

		LOG_INF("SUMMARY STRING: '%c%c%c%c%c%c%c%c%c%c'",
			rb[0], rb[1], rb[2], rb[3], rb[4],
			rb[5], rb[6], rb[7], rb[8], rb[9]);

		dump_10_bytes_one_line(rb);

		bool pass = (memcmp(rb, msg, strlen(msg)) == 0);
		LOG_INF("VERIFY: %s", pass ? "PASS" : "FAIL");

		LOG_INF("=== W25N01 NAND DEMO END | next run in 30s ===");
		k_sleep(K_SECONDS(30));
	}
}

/* thread objects */
#define W25N01_STACK_SIZE 4096
#define W25N01_PRIORITY   5

K_THREAD_STACK_DEFINE(w25n01_stack, W25N01_STACK_SIZE);
static struct k_thread w25n01_tcb;
static bool started;

void w25n01_task_start(void)
{
	if (started) {
		return;
	}
	started = true;

	k_thread_create(&w25n01_tcb, w25n01_stack, K_THREAD_STACK_SIZEOF(w25n01_stack),
			w25n01_thread, NULL, NULL, NULL,
			W25N01_PRIORITY, 0, K_NO_WAIT);

	k_thread_name_set(&w25n01_tcb, "w25n01_task");
}
```

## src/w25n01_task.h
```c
#pragma once

void w25n01_task_start(void);
```
